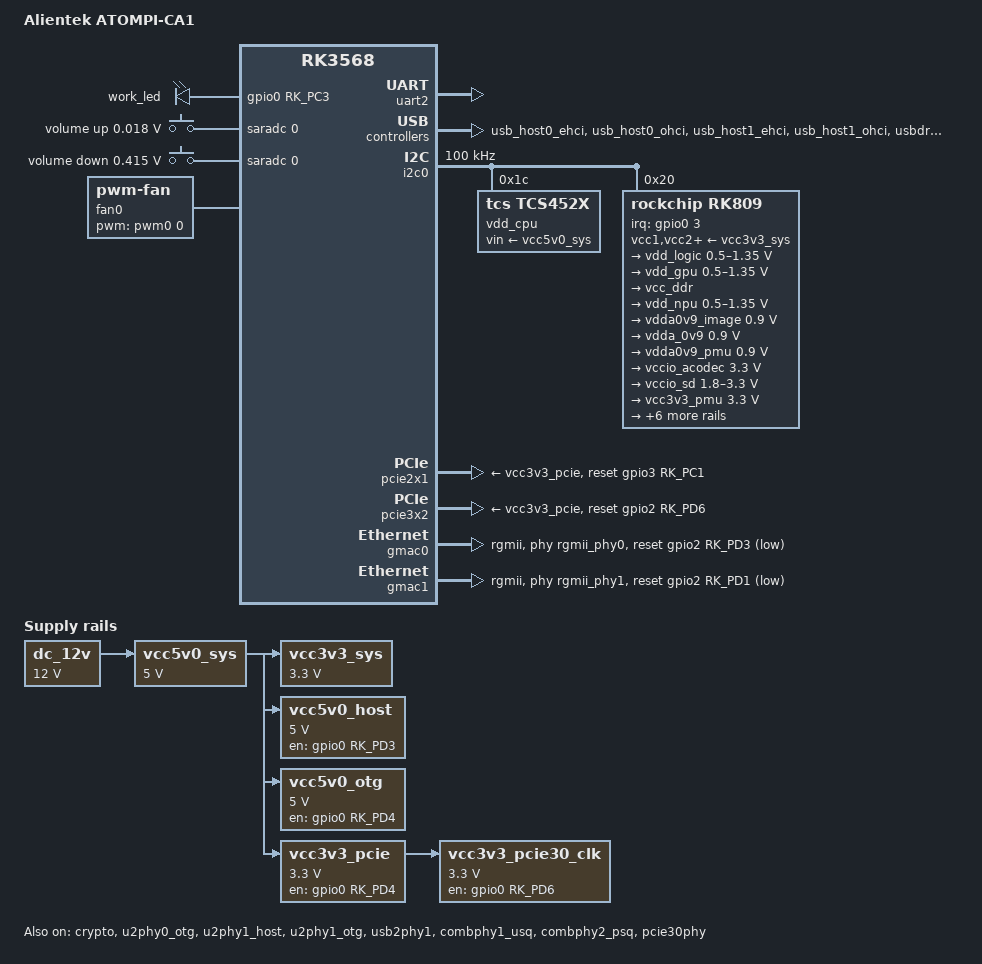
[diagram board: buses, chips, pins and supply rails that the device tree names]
/*
 * SPDX-License-Identifier:     GPL-2.0+
 *
 * (C) Copyright 2020 Rockchip Electronics Co., Ltd
 */

/dts-v1/;
#include "rk3568.dtsi"
#include "rk3568-u-boot.dtsi"
#include <dt-bindings/input/input.h>

/ {
	model = "Alientek ATOMPI-CA1";
	compatible = "rockchip,rk3568-evb1-ddr4-v10", "rockchip,rk3568";

	dc_12v: dc-12v {
		u-boot,dm-pre-reloc;
		compatible = "regulator-fixed";
		regulator-name = "dc_12v";
		regulator-always-on;
		regulator-boot-on;
		regulator-min-microvolt = <12000000>;
		regulator-max-microvolt = <12000000>;
	};

	vcc5v0_sys: vcc5v0-sys {
		u-boot,dm-pre-reloc;
		compatible = "regulator-fixed";
		regulator-name = "vcc5v0_sys";
		regulator-always-on;
		regulator-boot-on;
		regulator-min-microvolt = <5000000>;
		regulator-max-microvolt = <5000000>;
		vin-supply = <&dc_12v>;
	};

	vcc3v3_sys: vcc3v3-sys {
		u-boot,dm-pre-reloc;
		compatible = "regulator-fixed";
		regulator-name = "vcc3v3_sys";
		regulator-always-on;
		regulator-boot-on;
		regulator-min-microvolt = <3300000>;
		regulator-max-microvolt = <3300000>;
		vin-supply = <&vcc5v0_sys>;
	};

	vcc5v0_host: vcc5v0-host-regulator {
		compatible = "regulator-fixed";
		regulator-name = "vcc5v0_host";
		regulator-boot-on;
		regulator-always-on;
		regulator-min-microvolt = <5000000>;
		regulator-max-microvolt = <5000000>;
		enable-active-high;
		gpio = <&gpio0 RK_PD3 GPIO_ACTIVE_HIGH>;
		vin-supply = <&vcc5v0_sys>;
		pinctrl-names = "default";
		pinctrl-0 = <&vcc5v0_host_en>;
	};

    vcc5v0_otg: vcc5v0-otg-regulator {
		compatible = "regulator-fixed";
		regulator-name = "vcc5v0_otg";
		regulator-min-microvolt = <5000000>;
		regulator-max-microvolt = <5000000>;
		enable-active-high;
		gpio = <&gpio0 RK_PD4 GPIO_ACTIVE_HIGH>;
		vin-supply = <&vcc5v0_sys>;
		pinctrl-names = "default";
		pinctrl-0 = <&vcc5v0_otg_en>;
	};

    vcc3v3_pcie30_clk: vcc3v3-pcie30-clk-regulator {
		compatible = "regulator-fixed";
		regulator-name = "vcc3v3_pcie30_clk";
		regulator-min-microvolt = <3300000>;
		regulator-max-microvolt = <3300000>;
		enable-active-high;
		regulator-boot-on;
		//regulator-always-on;
		gpio = <&gpio0 RK_PD6 GPIO_ACTIVE_HIGH>;
		pinctrl-names = "default";
		pinctrl-0 = <&vcc3v3_pcie30_clk_en>;
		vin-supply = <&vcc3v3_pcie>;
	};

	led_sys: led-sys {
		compatible = "gpio-leds";
		work_led: work {
			gpios = <&gpio0 RK_PC3 GPIO_ACTIVE_HIGH>;
			linux,default-trigger = "heartbeat";
		};
	};

	vcc3v3_pcie: gpio-regulator {
		u-boot,dm-pre-reloc;
		compatible = "regulator-fixed";
		regulator-name = "vcc3v3_pcie";
		regulator-min-microvolt = <3300000>;
		regulator-max-microvolt = <3300000>;
		enable-active-high;
		gpio = <&gpio0 RK_PD4 GPIO_ACTIVE_HIGH>;
		startup-delay-us = <5000>;
		vin-supply = <&vcc5v0_sys>;
	};

	otp: otp@fe38c000 {
		compatible = "rockchip,rk3568-otp";
		reg = <0x0 0xfe38c000 0x0 0x4000>;
		#address-cells = <1>;
		#size-cells = <1>;
		clocks = <&cru CLK_OTPC_NS_USR>, <&cru CLK_OTPC_NS_SBPI>,
			 <&cru PCLK_OTPC_NS>, <&cru PCLK_OTPPHY>;
		clock-names = "usr", "sbpi", "apb", "phy";
		resets = <&cru SRST_OTPPHY>;
		reset-names = "otp_phy";

		/* Data cells */
		cpu_code: cpu-code@2 {
			reg = <0x02 0x2>;
		};
		otp_cpu_version: cpu-version@8 {
			reg = <0x08 0x1>;
			bits = <3 3>;
		};
		mbist_vmin: mbist-vmin@9 {
			reg = <0x09 0x1>;
			bits = <0 4>;
		};
		otp_id: id@a {
			reg = <0x0a 0x10>;
		};
		cpu_leakage: cpu-leakage@1a {
			reg = <0x1a 0x1>;
		};
		log_leakage: log-leakage@1b {
			reg = <0x1b 0x1>;
		};
		npu_leakage: npu-leakage@1c {
			reg = <0x1c 0x1>;
		};
		gpu_leakage: gpu-leakage@1d {
			reg = <0x1d 0x1>;
		};
		core_pvtm:core-pvtm@2a {
			reg = <0x2a 0x2>;
		};
		cpu_tsadc_trim_l: cpu-tsadc-trim-l@2e {
			reg = <0x2e 0x1>;
		};
		cpu_tsadc_trim_h: cpu-tsadc-trim-h@2f {
			reg = <0x2f 0x1>;
			bits = <0 4>;
		};
		gpu_tsadc_trim_l: npu-tsadc-trim-l@30 {
			reg = <0x30 0x1>;
		};
		gpu_tsadc_trim_h: npu-tsadc-trim-h@31 {
			reg = <0x31 0x1>;
			bits = <0 4>;
		};
		tsadc_trim_base_frac: tsadc-trim-base-frac@31 {
			reg = <0x31 0x1>;
			bits = <4 4>;
		};
		tsadc_trim_base: tsadc-trim-base@32 {
			reg = <0x32 0x1>;
		};
		cpu_opp_info: cpu-opp-info@36 {
			reg = <0x36 0x6>;
		};
		gpu_opp_info: gpu-opp-info@3c {
			reg = <0x3c 0x6>;
		};
		npu_opp_info: npu-opp-info@42 {
			reg = <0x42 0x6>;
		};
		dmc_opp_info: dmc-opp-info@48 {
			reg = <0x48 0x6>;
		};
	};

	firmware {
		scmi: scmi {
			compatible = "arm,scmi-smc";
			shmem = <&scmi_shmem>;
			arm,smc-id = <0x82000010>;
			#address-cells = <1>;
			#size-cells = <0>;

			scmi_clk: protocol@14 {
				reg = <0x14>;
				#clock-cells = <1>;

				rockchip,clk-init = <1104000000>;
			};
		};

		sdei: sdei {
			compatible = "arm,sdei-1.0";
			method = "smc";
		};
	};

	scmi_shmem: scmi-shmem@10f000 {
		compatible = "arm,scmi-shmem";
		reg = <0x0 0x0010f000 0x0 0x100>;
	};

	adc-keys {
		compatible = "adc-keys";
		io-channels = <&saradc 0>;
		io-channel-names = "buttons";
		keyup-threshold-microvolt = <1800000>;
		u-boot,dm-spl;
		status = "okay";

		volumeup-key {
			u-boot,dm-spl;
			linux,code = <KEY_VOLUMEUP>;
			label = "volume up";
			press-threshold-microvolt = <17822>;
		};

		volumedown-key {
			u-boot,dm-spl;
			label = "volume down";
			linux,code = <KEY_VOLUMEDOWN>;
			press-threshold-microvolt = <415385>;
		};
	};

	fan0: pwm-fan {
		compatible = "pwm-fan";
		cooling-min-state = <0>;
		cooling-max-state = <22>;
		#cooling-cells = <2>;
		pwms = <&pwm0 0 25000 0>;
		cooling-levels = <0 50 100 150 200 255>;
		rockchip,temp-trips = <
			43000	1
			47000	2
			50000	3
			55000	4
			60000	5
		>;
		status = "okay";
	};
};

&crypto {
	status = "okay";
};

&uart2 {
	clock-frequency = <24000000>;
	u-boot,dm-spl;
	/delete-property/ pinctrl-names;
	/delete-property/ pinctrl-0;
	status = "okay";
};

&pmu_io_domains {
	status = "okay";
	pmuio2-supply = <&vcc3v3_pmu>;
	vccio1-supply = <&vccio_acodec>;
	vccio3-supply = <&vccio_sd>;
	vccio4-supply = <&vcc_1v8>;
	vccio5-supply = <&vcc_3v3>;
	vccio6-supply = <&vcc_1v8>;
	vccio7-supply = <&vcc_3v3>;
	u-boot,dm-pre-reloc;
};

&gpio0 {
	u-boot,dm-pre-reloc;
};

&u2phy0_otg {
	vbus-supply = <&vcc5v0_otg>;
	status = "okay";
};

&u2phy1_host {
	phy-supply = <&vcc5v0_host>;
	status = "okay";
};

&u2phy1_otg {
	phy-supply = <&vcc5v0_host>;
	status = "okay";
};

&usb2phy1 {
	status = "okay";
};

&usb_host0_ehci {
	status = "okay";
};

&usb_host0_ohci {
	status = "okay";
};

&usb_host1_ehci {
	status = "okay";
};

&usb_host1_ohci {
	status = "okay";
};

&usbdrd_dwc3 {
	status = "okay";
};

&usbdrd30 {
	status = "okay";
};

&usbhost_dwc3 {
	status = "okay";
};

&usbhost30 {
	status = "okay";
};

&combphy1_usq {
	status = "okay";
};

&i2c0 {
	status = "okay";
	u-boot,dm-pre-reloc;
	clock-frequency = <100000>;

	vdd_cpu: tcs4525@1c {
		u-boot,dm-pre-reloc;
		compatible = "tcs,tcs452x";
		reg = <0x1c>;
		vin-supply = <&vcc5v0_sys>;
		regulator-compatible = "fan53555-reg";
		regulator-name = "vdd_cpu";
		regulator-min-microvolt = <712500>;
		regulator-max-microvolt = <1390000>;
		regulator-init-microvolt = <900000>;
		regulator-ramp-delay = <2300>;
		fcs,suspend-voltage-selector = <1>;
		regulator-boot-on;
		regulator-always-on;
		regulator-state-mem {
			u-boot,dm-pre-reloc;
			regulator-off-in-suspend;
		};
	};

	rk809: pmic@20 {
		u-boot,dm-pre-reloc;
		status = "okay";
		compatible = "rockchip,rk809";
		reg = <0x20>;
		interrupt-parent = <&gpio0>;
		interrupts = <3 IRQ_TYPE_LEVEL_LOW>;

		pinctrl-names = "default", "pmic-sleep",
				"pmic-power-off", "pmic-reset";
		pinctrl-0 = <&pmic_int>;
		pinctrl-1 = <&soc_slppin_slp>, <&rk817_slppin_slp>;
		pinctrl-2 = <&soc_slppin_gpio>, <&rk817_slppin_pwrdn>;
		pinctrl-3 = <&soc_slppin_gpio>, <&rk817_slppin_rst>;

		rockchip,system-power-controller;
		wakeup-source;
		#clock-cells = <1>;
		clock-output-names = "rk808-clkout1", "rk808-clkout2";
		//fb-inner-reg-idxs = <2>;
		/* 1: rst regs (default in codes), 0: rst the pmic */
		pmic-reset-func = <0>;
		/* not save the PMIC_POWER_EN register in uboot */
		not-save-power-en = <1>;

		vcc1-supply = <&vcc3v3_sys>;
		vcc2-supply = <&vcc3v3_sys>;
		vcc3-supply = <&vcc3v3_sys>;
		vcc4-supply = <&vcc3v3_sys>;
		vcc5-supply = <&vcc3v3_sys>;
		vcc6-supply = <&vcc3v3_sys>;
		vcc7-supply = <&vcc3v3_sys>;
		vcc8-supply = <&vcc3v3_sys>;
		vcc9-supply = <&vcc3v3_sys>;

		pwrkey {
			status = "okay";
			u-boot,dm-pre-reloc;
		};

		pinctrl_rk8xx: pinctrl_rk8xx {
			u-boot,dm-pre-reloc;
			gpio-controller;
			#gpio-cells = <2>;

			rk817_slppin_null: rk817_slppin_null {
				pins = "gpio_slp";
				function = "pin_fun0";
				u-boot,dm-pre-reloc;
			};

			rk817_slppin_slp: rk817_slppin_slp {
				pins = "gpio_slp";
				function = "pin_fun1";
				u-boot,dm-pre-reloc;
			};

			rk817_slppin_pwrdn: rk817_slppin_pwrdn {
				pins = "gpio_slp";
				function = "pin_fun2";
				u-boot,dm-pre-reloc;
			};

			rk817_slppin_rst: rk817_slppin_rst {
				pins = "gpio_slp";
				function = "pin_fun3";
				u-boot,dm-pre-reloc;
			};
		};

		regulators {
			u-boot,dm-pre-reloc;
			vdd_logic: DCDC_REG1 {
				u-boot,dm-pre-reloc;
				regulator-always-on;
				regulator-boot-on;
				regulator-min-microvolt = <500000>;
				regulator-max-microvolt = <1350000>;
				regulator-init-microvolt = <900000>;
				regulator-ramp-delay = <6001>;
				regulator-initial-mode = <0x2>;
				regulator-name = "vdd_logic";
				regulator-state-mem {
					u-boot,dm-pre-reloc;
					regulator-on-in-suspend;
				};
			};

			vdd_gpu: DCDC_REG2 {
				u-boot,dm-pre-reloc;
				regulator-always-on;
				regulator-boot-on;
				regulator-min-microvolt = <500000>;
				regulator-max-microvolt = <1350000>;
				regulator-init-microvolt = <900000>;
				regulator-ramp-delay = <6001>;
				regulator-initial-mode = <0x2>;
				regulator-name = "vdd_gpu";
				regulator-state-mem {
					u-boot,dm-pre-reloc;
					regulator-on-in-suspend;
				};
			};

			vcc_ddr: DCDC_REG3 {
				u-boot,dm-pre-reloc;
				regulator-always-on;
				regulator-boot-on;
				regulator-initial-mode = <0x2>;
				regulator-name = "vcc_ddr";
				regulator-state-mem {
					u-boot,dm-pre-reloc;
					regulator-on-in-suspend;
				};
			};

			vdd_npu: DCDC_REG4 {
				u-boot,dm-pre-reloc;
				regulator-always-on;
				regulator-boot-on;
				regulator-min-microvolt = <500000>;
				regulator-max-microvolt = <1350000>;
				regulator-init-microvolt = <900000>;
				regulator-ramp-delay = <6001>;
				regulator-initial-mode = <0x2>;
				regulator-name = "vdd_npu";
				regulator-state-mem {
					u-boot,dm-pre-reloc;
					regulator-on-in-suspend;
				};
			};

			vdda0v9_image: LDO_REG1 {
				u-boot,dm-pre-reloc;
				regulator-boot-on;
				regulator-always-on;
				regulator-min-microvolt = <900000>;
				regulator-max-microvolt = <900000>;
				regulator-name = "vdda0v9_image";
				regulator-state-mem {
					u-boot,dm-pre-reloc;
					regulator-off-in-suspend;
				};
			};

			vdda_0v9: LDO_REG2 {
				u-boot,dm-pre-reloc;
				regulator-always-on;
				regulator-boot-on;
				regulator-min-microvolt = <900000>;
				regulator-max-microvolt = <900000>;
				regulator-name = "vdda_0v9";
				regulator-state-mem {
					u-boot,dm-pre-reloc;
					regulator-off-in-suspend;
				};
			};

			vdda0v9_pmu: LDO_REG3 {
				u-boot,dm-pre-reloc;
				regulator-always-on;
				regulator-boot-on;
				regulator-min-microvolt = <900000>;
				regulator-max-microvolt = <900000>;
				regulator-name = "vdda0v9_pmu";
				regulator-state-mem {
					u-boot,dm-pre-reloc;
					regulator-on-in-suspend;
					regulator-suspend-microvolt = <900000>;
				};
			};

			vccio_acodec: LDO_REG4 {
				u-boot,dm-pre-reloc;
				regulator-always-on;
				regulator-boot-on;
				regulator-min-microvolt = <3300000>;
				regulator-max-microvolt = <3300000>;
				regulator-name = "vccio_acodec";
				regulator-state-mem {
					u-boot,dm-pre-reloc;
					regulator-off-in-suspend;
				};
			};

			vccio_sd: LDO_REG5 {
				u-boot,dm-pre-reloc;
				regulator-always-on;
				regulator-boot-on;
				regulator-min-microvolt = <1800000>;
				regulator-max-microvolt = <3300000>;
				regulator-name = "vccio_sd";
				regulator-state-mem {
					u-boot,dm-pre-reloc;
					regulator-off-in-suspend;
				};
			};

			vcc3v3_pmu: LDO_REG6 {
				u-boot,dm-pre-reloc;
				regulator-always-on;
				regulator-boot-on;
				regulator-min-microvolt = <3300000>;
				regulator-max-microvolt = <3300000>;
				regulator-name = "vcc3v3_pmu";
				regulator-state-mem {
					u-boot,dm-pre-reloc;
					regulator-on-in-suspend;
					regulator-suspend-microvolt = <3300000>;
				};
			};

			vcca_1v8: LDO_REG7 {
				u-boot,dm-pre-reloc;
				regulator-always-on;
				regulator-boot-on;
				regulator-min-microvolt = <1800000>;
				regulator-max-microvolt = <1800000>;
				regulator-name = "vcca_1v8";
				regulator-state-mem {
					u-boot,dm-pre-reloc;
					regulator-off-in-suspend;
				};
			};

			vcca1v8_pmu: LDO_REG8 {
				u-boot,dm-pre-reloc;
				regulator-always-on;
				regulator-boot-on;
				regulator-min-microvolt = <1800000>;
				regulator-max-microvolt = <1800000>;
				regulator-name = "vcca1v8_pmu";
				regulator-state-mem {
					u-boot,dm-pre-reloc;
					regulator-on-in-suspend;
					regulator-suspend-microvolt = <1800000>;
				};
			};

			vcca1v8_image: LDO_REG9 {
				u-boot,dm-pre-reloc;
				regulator-always-on;
				regulator-boot-on;
				regulator-min-microvolt = <1800000>;
				regulator-max-microvolt = <1800000>;
				regulator-name = "vcca1v8_image";
				regulator-state-mem {
					u-boot,dm-pre-reloc;
					regulator-off-in-suspend;
				};
			};

			vcc_1v8: DCDC_REG5 {
				u-boot,dm-pre-reloc;
				regulator-always-on;
				regulator-boot-on;
				regulator-min-microvolt = <1800000>;
				regulator-max-microvolt = <1800000>;
				regulator-name = "vcc_1v8";
				regulator-state-mem {
					u-boot,dm-pre-reloc;
					regulator-off-in-suspend;
				};
			};

			vcc_3v3: SWITCH_REG1 {
				u-boot,dm-pre-reloc;
				regulator-always-on;
				regulator-boot-on;
				regulator-name = "vcc_3v3";
				regulator-state-mem {
					u-boot,dm-pre-reloc;
					regulator-off-in-suspend;
				};
			};

			vcc3v3_sd: SWITCH_REG2 {
				u-boot,dm-pre-reloc;
				regulator-always-on;
				regulator-boot-on;
				regulator-name = "vcc3v3_sd";
				regulator-state-mem {
					u-boot,dm-pre-reloc;
					regulator-off-in-suspend;
				};
			};
		};
	};
};

&combphy2_psq {
        u-boot,dm-pre-reloc;
        status = "okay";
};

&pcie2x1 {
        u-boot,dm-pre-reloc;
        vpcie3v3-supply = <&vcc3v3_pcie>;
        pinctrl-0 = <&pcie20m1_pins>;
        reset-gpios = <&gpio3 RK_PC1 GPIO_ACTIVE_HIGH>;
        status = "okay";
};

&pcie30_phy_grf {
	u-boot,dm-pre-reloc;
};

&pcie3x2 {
	u-boot,dm-pre-reloc;
	vpcie3v3-supply = <&vcc3v3_pcie>;
	reset-gpios = <&gpio2 RK_PD6 GPIO_ACTIVE_HIGH>;
	status = "okay";
};

&pcie30phy {
	u-boot,dm-pre-reloc;
	status = "okay";
};

&gmac0 {
	
	phy-mode = "rgmii";
	clock_in_out = "output";

	snps,reset-gpio = <&gpio2 RK_PD3 GPIO_ACTIVE_LOW>;
	snps,reset-active-low;
	/* Reset time is 20ms, 100ms for rtl8211f */
	snps,reset-delays-us = <0 20000 100000>;
	assigned-clocks = <&cru SCLK_GMAC0_RX_TX>, <&cru SCLK_GMAC0>;
	assigned-clock-parents = <&cru SCLK_GMAC0_RGMII_SPEED>;
	assigned-clock-rates = <0>, <125000000>;

	pinctrl-names = "default";
	pinctrl-0 = <&gmac0_miim
		     &gmac0_tx_bus2
		     &gmac0_rx_bus2
		     &gmac0_rgmii_clk
		     &gmac0_rgmii_bus>;

	tx_delay = <0x3c>;
	rx_delay = <0x2f>;

	phy-handle = <&rgmii_phy0>;
	status = "okay";
};

&gmac1 {
	phy-mode = "rgmii";
	clock_in_out = "output";

	snps,reset-gpio = <&gpio2 RK_PD1 GPIO_ACTIVE_LOW>;
	snps,reset-active-low;
	/* Reset time is 20ms, 100ms for rtl8211f */
	snps,reset-delays-us = <0 20000 100000>;

	assigned-clocks = <&cru SCLK_GMAC1_RX_TX>, <&cru SCLK_GMAC1>;
	assigned-clock-parents = <&cru SCLK_GMAC1_RGMII_SPEED>, <&cru CLK_MAC1_2TOP>;
	assigned-clock-rates = <0>, <125000000>;

	pinctrl-names = "default";
	pinctrl-0 = <&gmac1m1_miim
		     &gmac1m1_tx_bus2
		     &gmac1m1_rx_bus2
		     &gmac1m1_rgmii_clk
		     &gmac1m1_rgmii_bus>;

	tx_delay = <0x4f>;
	rx_delay = <0x26>;

	phy-handle = <&rgmii_phy1>;
	status = "okay";
};

&gpio3 {
	u-boot,dm-pre-reloc;
};

&pinctrl {
	u-boot,dm-spl;
	pmic {
		u-boot,dm-pre-reloc;
		pmic_int: pmic_int {
			u-boot,dm-pre-reloc;
			rockchip,pins =
				<0 RK_PA3 RK_FUNC_GPIO &pcfg_pull_up>;
		};

		soc_slppin_gpio: soc_slppin_gpio {
			u-boot,dm-pre-reloc;
			rockchip,pins =
				<0 RK_PA2 RK_FUNC_GPIO &pcfg_output_low_pull_down>;
		};

		soc_slppin_slp: soc_slppin_slp {
			u-boot,dm-pre-reloc;
			rockchip,pins =
				<0 RK_PA2 RK_FUNC_1 &pcfg_pull_up>;
		};

		soc_slppin_rst: soc_slppin_rst {
			u-boot,dm-pre-reloc;
			rockchip,pins =
				<0 RK_PA2 RK_FUNC_2 &pcfg_pull_none>;
		};
	};

	usb {
		vcc5v0_host_en: vcc5v0-host-en {
			rockchip,pins = <0 RK_PD3 RK_FUNC_GPIO &pcfg_pull_none>;
		};

		vcc5v0_otg_en: vcc5v0-otg-en {
			rockchip,pins = <0 RK_PD4 RK_FUNC_GPIO &pcfg_pull_none>;
		};
	};

    pcie {
        vcc3v3_pcie_en: vcc3v3-pcie-en {
			rockchip,pins = <0 RK_PD5 RK_FUNC_GPIO &pcfg_pull_none>;

		};

        vcc3v3_pcie30_clk_en: vcc3v3-pcie30-clk-en {
			rockchip,pins = <0 RK_PD6 RK_FUNC_GPIO &pcfg_pull_none>;
		};

        vcc3v3_pcie20_wifi_en: vcc3v3-pcie20-wifi-en {
			rockchip,pins = <3 RK_PA2 RK_FUNC_GPIO &pcfg_pull_none>;
		};
    };
};
